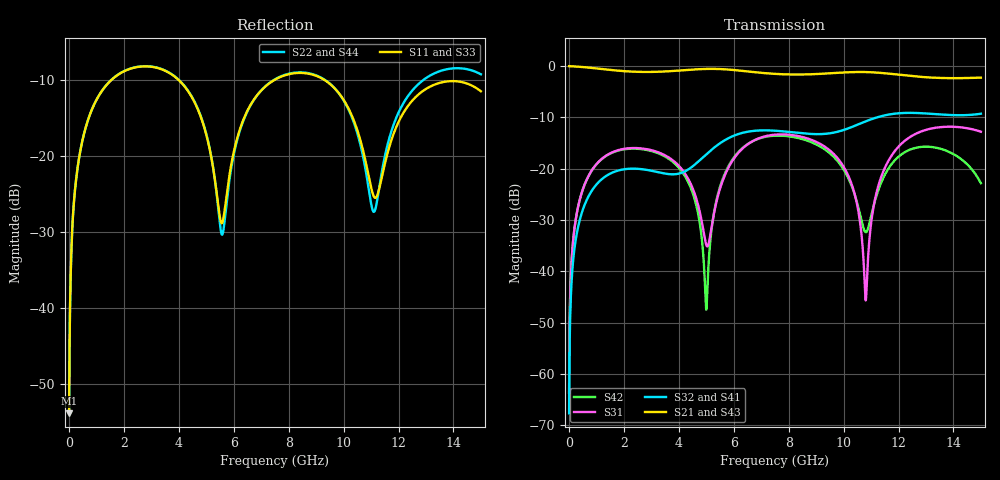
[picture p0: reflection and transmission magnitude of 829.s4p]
! Created with skrf 1.8.0 (http://scikit-rf.org).
# GHz S RI R 50.0
!freq ReS11 ImS11 ReS12 ImS12 ReS13 ImS13
! ReS14 ImS14
! ReS21 ImS21 ReS22 ImS22 ReS23 ImS23
! ReS24 ImS24
! ReS31 ImS31 ReS32 ImS32 ReS33 ImS33
! ReS34 ImS34
! ReS41 ImS41 ReS42 ImS42 ReS43 ImS43
! ReS44 ImS44
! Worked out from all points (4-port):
!   2499 points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, 5 MHz to 15 GHz, reference 50 ohm
!   strongest paths, dB at 5 MHz, 3.476 GHz, 7.19 GHz, 11.1 GHz, 15 GHz:
!     S21: 0.0, -1.1, -1.4, -1.2, -2.2
!     S43: 0.0, -1.1, -1.4, -1.2, -2.2
!     S32: -67.6, -20.9, -12.5, -10.2, -9.3
!     S41: -67.6, -21.0, -12.6, -10.2, -9.3
!     S31: -63.6, -17.3, -13.6, -27.2, -12.8
!     S42: -63.6, -17.6, -13.7, -27.2, -22.8
!   lowest |S11| = -53.9 dB at 5 MHz (marker M1), VSWR 1.00, Z = 50.2 + j0.123 ohm
!   |S11| at or under -10 dB: start of sweep to 1.524 GHz; 4.014 GHz to 7.448 GHz (3.434 GHz wide, 59.9 % of centre); 9.334 GHz to end of sweep
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0.005  0.00161 0.00122  0.9984 -0.00314  8.13e-05 0.000653  -7.89e-05 -0.000407
       0.9984 -0.00314  0.00161 0.00122  -7.89e-05 -0.000407  8.13e-05 0.000653
       8.13e-05 0.000653  -7.89e-05 -0.000407  0.00161 0.00122  0.9984 -0.00314
       -7.89e-05 -0.000407  8.13e-05 0.000653  0.9984 -0.00314  0.00161 0.00122
0.3126303  0.0233 0.0805  0.9681 -0.1953  0.011 0.0388  -0.00903 -0.024
           0.9681 -0.1953  0.0234 0.0805  -0.00904 -0.024  0.0107 0.0388
           0.011 0.0388  -0.00904 -0.024  0.0233 0.0805  0.9681 -0.1953
           -0.00903 -0.024  0.0107 0.0388  0.9681 -0.1953  0.0234 0.0805
1.569404  0.2673 0.1792  0.5538 -0.727  0.1309 0.0609  -0.0911 -0.00705
          0.5538 -0.727  0.2684 0.1785  -0.0912 -0.00686  0.1274 0.0656
          0.1309 0.0609  -0.0912 -0.00686  0.2672 0.1793  0.5537 -0.727
          -0.0911 -0.00705  0.1274 0.0656  0.5537 -0.727  0.2685 0.1784
4.995832  0.0733 -0.1192  -0.8601 -0.3753  -0.0162 -0.00844  -0.0522 0.1276
          -0.8601 -0.3753  0.0686 -0.1236  -0.0497 0.1286  -0.004 -0.00147
          -0.0162 -0.00844  -0.0497 0.1286  0.0732 -0.1192  -0.8602 -0.3752
          -0.0522 0.1276  -0.004 -0.00147  -0.8602 -0.3752  0.0687 -0.1235
8.728637  0.3462 -0.0544  0.0322 0.8304  0.1691 -0.0982  0.2005 -0.0791
          0.0322 0.8304  0.3483 -0.0585  0.2009 -0.0868  0.1673 -0.0806
          0.1691 -0.0982  0.2009 -0.0868  0.3465 -0.0492  0.0324 0.8298
          0.2005 -0.0791  0.1673 -0.0806  0.0324 0.8298  0.3508 -0.064
10.8045  0.0645 -0.0658  0.8144 0.3196  0.00498 -0.00156  0.1034 -0.2704
         0.8144 0.3196  0.0537 -0.0605  0.0907 -0.2749  -0.0241 -0.00127
         0.00498 -0.00156  0.0907 -0.2749  0.0726 -0.065  0.8141 0.3197
         0.1034 -0.2704  -0.0241 -0.00127  0.8141 0.3197  0.0469 -0.0654
15  0.2583 -0.0735  -0.2292 -0.7375  0.0189 -0.2287  -0.3179 0.1257
    -0.2292 -0.7375  0.3163 -0.1437  -0.3114 0.1451  0.0579 -0.0431
    0.0189 -0.2287  -0.3114 0.1451  0.2594 -0.0691  -0.23 -0.7367
    -0.3179 0.1257  0.0579 -0.0431  -0.23 -0.7367  0.3187 -0.145
